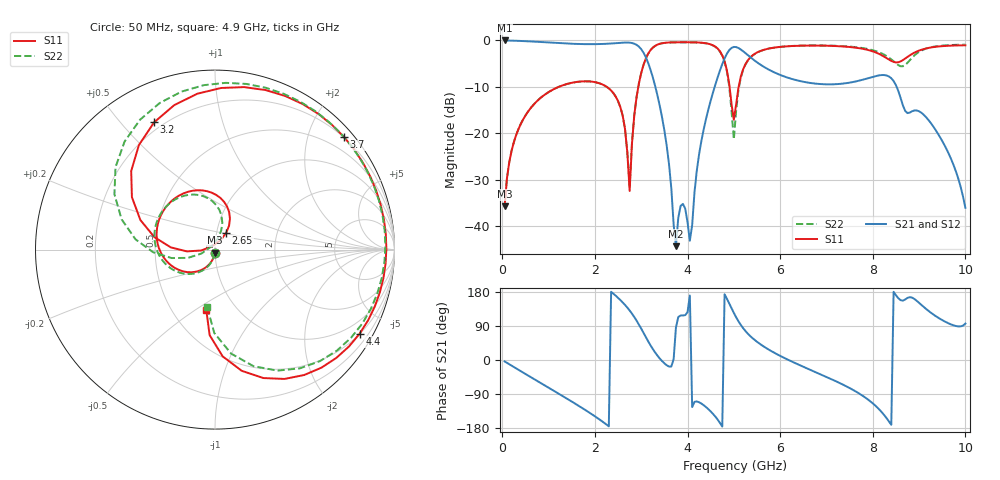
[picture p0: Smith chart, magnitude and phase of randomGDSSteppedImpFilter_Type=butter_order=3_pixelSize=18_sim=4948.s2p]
! freq	dB(S11)	phase(S11)	dB(S12)	phase(S12)
!  dB(S21)	phase(S21)	dB(S22)	phase(S22)
!S-par simulation data
#  GHz  S  DB  R 50
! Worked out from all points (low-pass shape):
!   200 points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, 50 MHz to 10 GHz, reference 50 ohm
!   highest |S21| = -0.01 dB at 50 MHz (marker M1); lowest = -44.3 dB at 3.75 GHz (marker M2)
!   |S21| within 3 dB of the highest: start of sweep to 3.068 GHz; 4.843 GHz to 5.282 GHz (439.4 MHz wide, 8.68 % of centre)
!   lowest |S11| = -35.7 dB at 50 MHz (marker M3), VSWR 1.03, Z = 49.9 - j1.63 ohm
!   |S11| at or under -10 dB: start of sweep to 1.218 GHz; 2.256 GHz to 2.937 GHz (681.3 MHz wide, 26.2 % of centre); 4.908 GHz to 5.103 GHz (195.7 MHz wide, 3.91 % of centre)
!   |S22| runs from -35.7 to -0.4 dB; largest |S21 - S12| = 0
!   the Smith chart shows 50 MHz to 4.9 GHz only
!   S11 on the Smith chart (normalised r, x): 50 MHz: 1.00, -0.03; 2.65 GHz: 1.11, +0.21; 3.2 GHz: 0.17, +0.62; 3.7 GHz: 0.19, +2.66; 4.4 GHz: 0.51, -3.64; 4.9 GHz: 0.73, -0.56
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0.05  -35.74 -93.6  -0.01 -3.8  -0.01 -3.8  -35.73 -93.3
0.5  -16.16 -128.9  -0.16 -36.9  -0.16 -36.9  -16.16 -125.7
1.75  -8.80 135.6  -0.79 -128.6  -0.79 -128.6  -8.81 146.3
2.65  -19.05 56.3  -0.46 145.4  -0.46 145.4  -19.03 71.9
2.75  -32.41 127.3  -0.48 130.6  -0.48 130.6  -31.41 141.3
2.9  -12.16 177.1  -0.95 103.8  -0.95 103.8  -12.15 -169.0
3.2  -2.09 115.6  -6.29 38.9  -6.29 38.9  -2.10 129.9
3.4  -0.73 79.9  -14.07 4.0  -14.07 4.0  -0.74 93.9
3.7  -0.41 41.1  -39.65 2.1  -39.65 2.1  -0.42 54.1
3.75  -0.40 35.6  -44.29 86.2  -44.29 86.2  -0.41 48.5
4.05  -0.39 5.2  -43.14 170.1  -43.14 170.1  -0.41 16.7
4.4  -0.61 -30.2  -16.87 -124.4  -16.87 -124.4  -0.64 -20.8
4.9  -9.34 -98.2  -2.09 149.3  -2.09 149.3  -9.85 -97.9
5.05  -13.73 -20.0  -1.43 112.6  -1.43 112.6  -15.06 1.6
5.5  -2.60 -49.6  -4.71 48.0  -4.71 48.0  -2.62 -39.5
6.7  -1.10 -124.0  -9.22 -28.6  -9.22 -28.6  -1.07 -113.5
7.75  -1.74 168.2  -8.55 -91.8  -8.55 -91.8  -1.59 -171.3
8.35  -4.13 77.0  -7.76 -162.1  -7.76 -162.1  -3.71 121.8
8.65  -4.24 -25.8  -13.96 156.7  -13.96 156.7  -5.56 18.3
8.9  -2.63 -95.0  -15.07 160.9  -15.07 160.9  -3.22 -75.1
9.35  -1.38 -157.8  -19.17 116.5  -19.17 116.5  -1.29 -142.3
10  -1.05 147.4  -36.04 96.1  -36.04 96.1  -0.91 171.8
